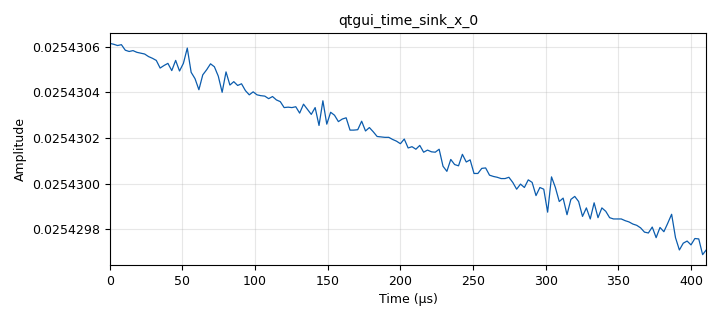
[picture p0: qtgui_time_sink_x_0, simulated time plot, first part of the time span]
options:
  parameters:
    author: emmanuelkwakyenyantakyi
    generate_options: qt_gui
    id: inaccuracy_of_trig_funcs_10
    output_language: python
    title: Demonstration of the inaccuracy of the trigonometric function calculation
  states: {}

blocks:
- name: N
  id: variable
  parameters:
    value: '8'
  states: {}
- name: samp_rate
  id: variable
  parameters:
    value: 3e6
  states: {}
- name: analog_sig_source_x_0
  id: analog_sig_source_x
  parameters:
    amp: '1'
    freq: '3000'
    offset: '0'
    phase: '0'
    samp_rate: samp_rate
    type: complex
    waveform: analog.GR_COS_WAVE
  states: {}
- name: analog_sig_source_x_1
  id: analog_sig_source_x
  parameters:
    amp: '1'
    freq: '3000'
    offset: '0'
    phase: '0'
    samp_rate: samp_rate/N
    type: complex
    waveform: analog.GR_COS_WAVE
  states: {}
- name: blocks_complex_to_arg_0
  id: blocks_complex_to_arg
  parameters: {}
  states: {}
- name: blocks_keep_one_in_n_0
  id: blocks_keep_one_in_n
  parameters:
    comment: |-
      Decimation by N = 8
      Sampling rate -> 3M / 8
    n: int(N)
    type: complex
  states: {}
- name: blocks_multiply_conjugate_cc_0
  id: blocks_multiply_conjugate_cc
  parameters: {}
  states: {}
- name: blocks_throttle2_0
  id: blocks_throttle2
  parameters:
    samples_per_second: samp_rate
    type: complex
  states: {}
- name: qtgui_time_sink_x_0
  id: qtgui_time_sink_x
  parameters:
    autoscale: 'True'
    size: 1024 * 1000
    srate: samp_rate/N
    type: float
  states: {}

connections:
- [analog_sig_source_x_0, '0', blocks_throttle2_0, '0']
- [analog_sig_source_x_1, '0', blocks_multiply_conjugate_cc_0, '1']
- [blocks_complex_to_arg_0, '0', qtgui_time_sink_x_0, '0']
- [blocks_keep_one_in_n_0, '0', blocks_multiply_conjugate_cc_0, '0']
- [blocks_multiply_conjugate_cc_0, '0', blocks_complex_to_arg_0, '0']
- [blocks_throttle2_0, '0', blocks_keep_one_in_n_0, '0']

metadata:
  file_format: 1
  grc_version: 3.10.12.0
